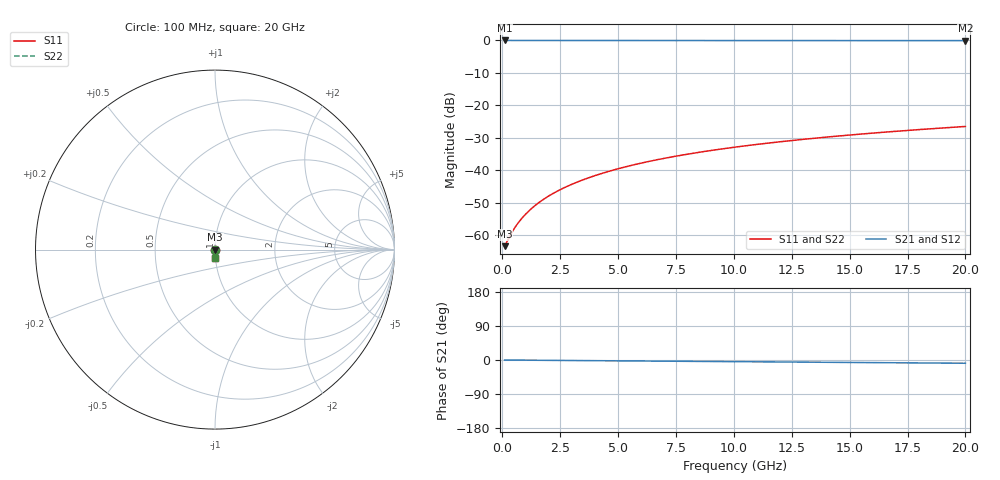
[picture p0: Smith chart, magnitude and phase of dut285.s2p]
! Touchstone file exported from HFSS 2026.1.0
!  File:  C:/ffzhzh/LocalFiles/Ansys_Project_Files/temp_train_TMRDL_285_1782985424_6248.aedt
!  Generated:  05:44:48 PM Jul  2, 2026
!  Design:  TMRDL
!  Project:  temp_train_TMRDL_285_1782985424_6248
! Variables:
!  h_bsmrdl = 2um
!  h_ox = 20um
!  h_rdl = 5um
!  h_sub = 80um
!  h_tmrdl = 5.11um
!  h_tsv = 80um
!  h_via = 3um
!  l_bsmrdl = 300um
!  l_sub = 539.76um
!  l_tmrdl = 139.76um
!  m_sub = 200um
!  pitch = 21.86um
!  r_tsv = 6um
!  s_tmrdl = 10um
!  w_bsmrdl = 18um
!  w_sub = 500um
!  w_tmrdl = 19.65um
!  x_tsv_center1 = 149.585um
!  x_tsv_center2 = 467.585um
!  x_tsv_center3 = 626.995um
!  x_tsv_center4 = 944.995um
!  x_tsv_center5 = 1104.405um
!  x_tsv_center6 = 1422.405um
# GHz S MA R 50.000000
! Terminal data exported
! Port[1] = TM_RDL1_1_T1
! Port[2] = TM_RDL1_1_T2
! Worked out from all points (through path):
!   200 points, 100 MHz to 20 GHz, reference 50 ohm
!   highest |S21| = -0.01 dB at 100 MHz (marker M1); lowest = -0.1 dB at 20 GHz (marker M2)
!   group delay of S21, straight-line fit = 1.18 ps
!   lowest |S11| = -63.5 dB at 100 MHz (marker M3), VSWR 1.00, Z = 50.1 - j0.00297 ohm
!   |S11| at or under -10 dB: start of sweep to end of sweep
!   |S22| runs from -63.5 to -26.5 dB; largest |S21 - S12| = 3e-15
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0.1  0.0006713 -2.5  0.9993 -0.1  0.9993 -0.1  0.0006713 -2.5
! Gamma 0 0 0 0
! Port Impedance 50 0 50 0
0.3  0.0009263 -17.6  0.9991 -0.2  0.9991 -0.2  0.0009263 -17.6
0.4  0.001075 -25.9  0.999 -0.2  0.999 -0.2  0.001075 -25.9
0.6  0.001391 -39.3  0.9989 -0.3  0.9989 -0.3  0.001391 -39.3
0.7  0.001557 -44.4  0.9989 -0.3  0.9989 -0.3  0.001557 -44.4
0.9  0.001901 -52.0  0.9988 -0.4  0.9988 -0.4  0.001901 -52.0
1.1  0.002259 -57.4  0.9988 -0.5  0.9988 -0.5  0.002259 -57.4
1.3  0.002627 -61.3  0.9987 -0.6  0.9987 -0.6  0.002627 -61.3
1.7  0.003389 -66.5  0.9986 -0.8  0.9986 -0.8  0.003389 -66.5
2.2  0.004379 -70.3  0.9984 -1.0  0.9984 -1.0  0.004379 -70.3
2.8  0.005615 -73.1  0.9982 -1.3  0.9982 -1.3  0.005615 -73.1
3.5  0.007115 -75.2  0.998 -1.6  0.998 -1.6  0.007115 -75.2
4.2  0.008668 -76.7  0.9977 -1.9  0.9977 -1.9  0.008668 -76.7
5  0.01049 -78.1  0.9974 -2.2  0.9974 -2.2  0.01049 -78.1
5.9  0.0126 -79.5  0.9971 -2.6  0.9971 -2.6  0.0126 -79.5
6.8  0.01473 -80.6  0.9967 -3.0  0.9967 -3.0  0.01473 -80.6
8.3  0.01834 -82.3  0.9962 -3.6  0.9962 -3.6  0.01834 -82.3
10.1  0.02272 -84.1  0.9957 -4.4  0.9957 -4.4  0.02272 -84.1
11.7  0.02664 -85.5  0.9952 -5.1  0.9952 -5.1  0.02664 -85.5
13.4  0.03082 -86.9  0.9947 -5.8  0.9947 -5.8  0.03082 -86.9
16.7  0.03896 -89.2  0.9938 -7.2  0.9938 -7.2  0.03895 -89.2
20  0.04711 -91.3  0.9929 -8.6  0.9929 -8.6  0.04711 -91.3
